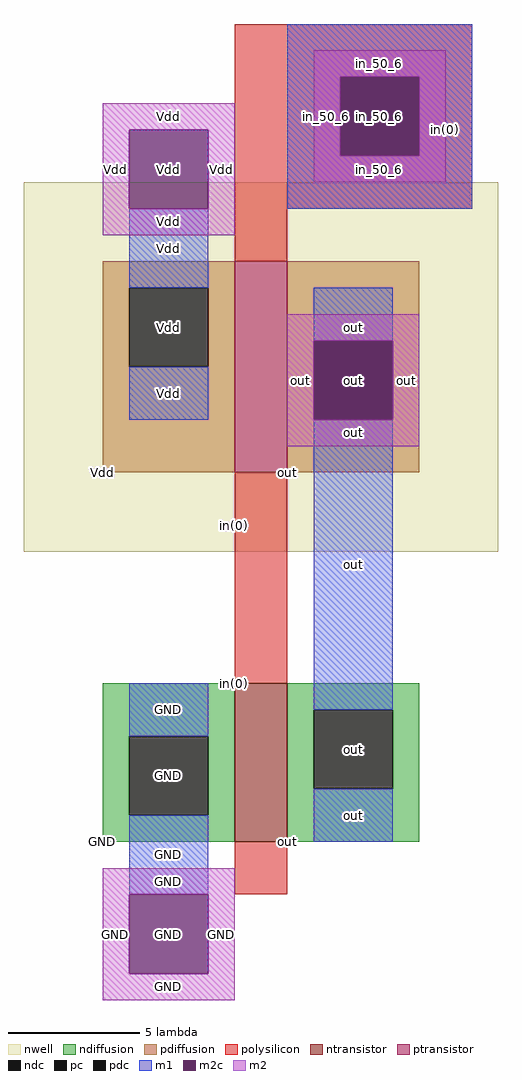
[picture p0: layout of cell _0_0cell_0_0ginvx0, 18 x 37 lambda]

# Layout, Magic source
magic
tech sky130l
<< nwell >>
rect 5 21 23 35
<< ndiffusion >>
rect 8 14 13 16
rect 8 11 9 14
rect 12 11 13 14
rect 8 10 13 11
rect 15 15 20 16
rect 15 12 16 15
rect 19 12 20 15
rect 15 10 20 12
<< ndc >>
rect 9 11 12 14
rect 16 12 19 15
<< ntransistor >>
rect 13 10 15 16
<< pdiffusion >>
rect 8 31 13 32
rect 8 28 9 31
rect 12 28 13 31
rect 8 24 13 28
rect 15 29 20 32
rect 15 26 16 29
rect 19 26 20 29
rect 15 24 20 26
<< pdc >>
rect 9 28 12 31
rect 16 26 19 29
<< ptransistor >>
rect 13 24 15 32
<< polysilicon >>
rect 13 39 22 41
rect 13 36 17 39
rect 20 36 22 39
rect 13 34 22 36
rect 13 32 15 34
rect 13 16 15 24
rect 13 8 15 10
<< pc >>
rect 17 36 20 39
<< m1 >>
rect 15 39 22 41
rect 15 36 17 39
rect 20 36 22 39
rect 15 34 22 36
rect 9 31 12 34
rect 9 26 12 28
rect 16 29 19 31
rect 9 14 12 16
rect 9 8 12 11
rect 16 15 19 26
rect 16 10 19 12
<< m2c >>
rect 9 34 12 37
rect 17 36 20 39
rect 16 26 19 29
rect 9 5 12 8
<< m2 >>
rect 16 39 21 40
rect 8 37 13 38
rect 8 34 9 37
rect 12 34 13 37
rect 16 36 17 39
rect 20 36 21 39
rect 16 35 21 36
rect 8 33 13 34
rect 15 29 20 30
rect 15 26 16 29
rect 19 26 20 29
rect 15 25 20 26
rect 8 8 13 9
rect 8 5 9 8
rect 12 5 13 8
rect 8 4 13 5
<< labels >>
rlabel ndiffusion 15 10 15 10 3 out
rlabel polysilicon 13 16 13 16 3 in(0)
rlabel pdiffusion 15 24 15 24 3 out
rlabel polysilicon 13 22 13 22 3 in(0)
rlabel pdiffusion 8 24 8 24 3 Vdd
rlabel ndiffusion 8 10 8 10 1 GND
flabel m2 s 12 5 13 8 3 FreeSerif 8 0 0 0 GND
port 1 nsew ground input
flabel m2 s 12 34 13 37 1 FreeSerif 8 0 0 0 Vdd
port 2 nsew power input
flabel m2 s 19 26 20 29 3 FreeSerif 8 0 0 0 out
port 3 nsew signal output
flabel m2 21 37 21 37 3 FreeSerif 8 0 0 0 in(0)
port 4 e
rlabel m2 s 20 36 21 39 6 in_50_6
port 1 nsew signal input
rlabel m2 s 17 36 20 39 6 in_50_6
port 1 nsew signal input
rlabel m2 s 16 35 21 36 7 in_50_6
port 1 nsew signal input
rlabel m2 s 16 36 17 39 5 in_50_6
port 1 nsew signal input
rlabel m2 s 16 39 21 40 6 in_50_6
port 1 nsew signal input
rlabel m1 s 20 36 22 39 6 in_50_6
port 1 nsew signal input
rlabel m1 s 17 36 20 39 6 in_50_6
port 1 nsew signal input
rlabel m1 s 15 34 22 36 7 in_50_6
port 1 nsew signal input
rlabel m1 s 15 36 17 39 5 in_50_6
port 1 nsew signal input
rlabel m1 s 15 39 22 41 6 in_50_6
port 1 nsew signal input
rlabel m2 s 16 26 19 29 1 out
port 3 nsew signal output
rlabel m2 s 15 25 20 26 1 out
port 3 nsew signal output
rlabel m2 s 15 26 16 29 1 out
port 3 nsew signal output
rlabel m2 s 15 29 20 30 1 out
port 3 nsew signal output
rlabel m1 s 16 12 19 15 1 out
port 3 nsew signal output
rlabel m1 s 16 15 19 26 1 out
port 3 nsew signal output
rlabel m1 s 16 26 19 29 1 out
port 3 nsew signal output
rlabel m1 s 16 29 19 31 1 out
port 3 nsew signal output
rlabel m1 s 16 10 19 12 1 out
port 3 nsew signal output
rlabel m2 s 9 34 12 37 3 Vdd
port 2 nsew power input
rlabel m2 s 8 33 13 34 3 Vdd
port 2 nsew power input
rlabel m2 s 8 34 9 37 3 Vdd
port 2 nsew power input
rlabel m2 s 8 37 13 38 4 Vdd
port 2 nsew power input
rlabel m1 s 9 26 12 28 3 Vdd
port 2 nsew power input
rlabel m1 s 9 28 12 31 3 Vdd
port 2 nsew power input
rlabel m1 s 9 31 12 34 3 Vdd
port 2 nsew power input
rlabel m1 s 9 34 12 37 3 Vdd
port 2 nsew power input
rlabel m2 s 9 5 12 8 2 GND
port 1 nsew ground input
rlabel m2 s 8 4 13 5 2 GND
port 1 nsew ground input
rlabel m2 s 8 5 9 8 2 GND
port 1 nsew ground input
rlabel m2 s 8 8 13 9 2 GND
port 1 nsew ground input
rlabel m1 s 9 5 12 8 2 GND
port 1 nsew ground input
rlabel m1 s 9 8 12 11 2 GND
port 1 nsew ground input
rlabel m1 s 9 11 12 14 3 GND
port 1 nsew ground input
rlabel m1 s 9 14 12 16 3 GND
port 1 nsew ground input
<< properties >>
string FIXED_BBOX 0 0 24 44
string LEFclass CORE
string LEFsite CoreSite
string LEFsymmetry X Y
<< end >>
